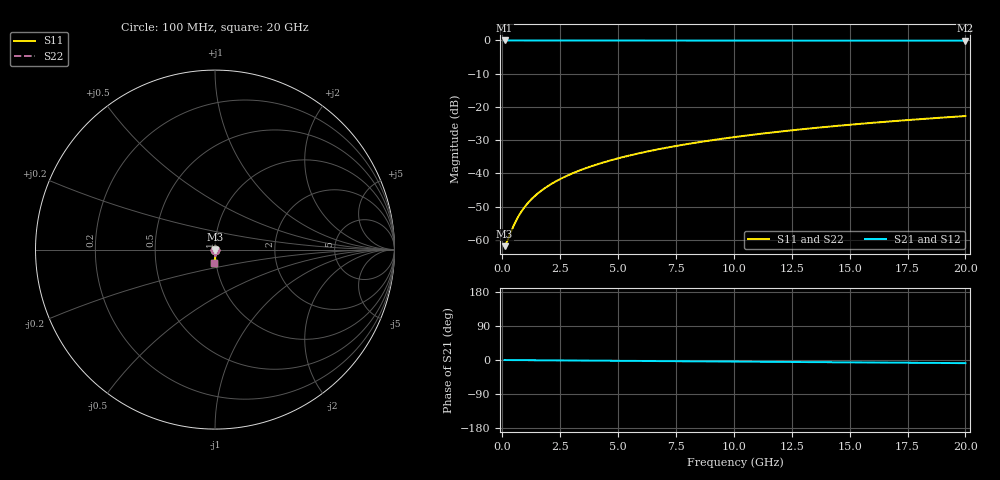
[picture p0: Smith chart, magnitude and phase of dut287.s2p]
! Touchstone file exported from HFSS 2026.1.0
!  File:  C:/ffzhzh/LocalFiles/Ansys_Project_Files/temp_train_TMRDL_287_1782985448_40604.aedt
!  Generated:  05:45:12 PM Jul  2, 2026
!  Design:  TMRDL
!  Project:  temp_train_TMRDL_287_1782985448_40604
! Variables:
!  h_bsmrdl = 2um
!  h_ox = 20um
!  h_rdl = 5um
!  h_sub = 80um
!  h_tmrdl = 3.86um
!  h_tsv = 80um
!  h_via = 3um
!  l_bsmrdl = 300um
!  l_sub = 516.87um
!  l_tmrdl = 116.87um
!  m_sub = 200um
!  pitch = 19.56um
!  r_tsv = 6um
!  s_tmrdl = 10um
!  w_bsmrdl = 18um
!  w_sub = 500um
!  w_tmrdl = 18.55um
!  x_tsv_center1 = 126.145um
!  x_tsv_center2 = 444.145um
!  x_tsv_center3 = 579.565um
!  x_tsv_center4 = 897.565um
!  x_tsv_center5 = 1032.985um
!  x_tsv_center6 = 1350.985um
# GHz S MA R 50.000000
! Terminal data exported
! Port[1] = TM_RDL1_1_T1
! Port[2] = TM_RDL1_1_T2
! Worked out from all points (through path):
!   200 points, 100 MHz to 20 GHz, reference 50 ohm
!   highest |S21| = -0.01 dB at 100 MHz (marker M1); lowest = -0.1 dB at 20 GHz (marker M2)
!   group delay of S21, straight-line fit = 1.14 ps
!   lowest |S11| = -61.9 dB at 100 MHz (marker M3), VSWR 1.00, Z = 50.1 - j0.0159 ohm
!   |S11| at or under -10 dB: start of sweep to end of sweep
!   |S22| runs from -61.9 to -22.7 dB; largest |S21 - S12| = 3.2e-15
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0.1  0.0008069 -11.4  0.9992 -0.1  0.9992 -0.1  0.0008069 -11.4
! Gamma 0 0 0 0
! Port Impedance 50 0 50 0
0.2  0.0009397 -21.7  0.9991 -0.1  0.9991 -0.1  0.0009397 -21.7
0.5  0.001669 -44.1  0.9988 -0.2  0.9988 -0.2  0.001669 -44.1
0.6  0.001968 -49.2  0.9987 -0.3  0.9987 -0.3  0.001968 -49.2
0.7  0.002279 -53.3  0.9986 -0.3  0.9986 -0.3  0.002279 -53.3
0.8  0.002597 -56.8  0.9986 -0.4  0.9986 -0.4  0.002597 -56.8
1  0.003246 -62.2  0.9985 -0.5  0.9985 -0.5  0.003246 -62.2
1.3  0.004234 -67.6  0.9983 -0.6  0.9983 -0.6  0.004234 -67.6
1.7  0.005562 -72.2  0.9982 -0.8  0.9982 -0.8  0.005562 -72.2
2.2  0.007234 -75.7  0.9981 -1.0  0.9981 -1.0  0.007234 -75.7
2.8  0.009258 -78.3  0.9979 -1.2  0.9979 -1.2  0.009258 -78.3
3.5  0.01165 -80.3  0.9977 -1.5  0.9977 -1.5  0.01165 -80.3
4.2  0.01407 -81.6  0.9974 -1.8  0.9974 -1.8  0.01407 -81.6
5  0.01688 -82.7  0.9971 -2.2  0.9971 -2.2  0.01688 -82.7
5.9  0.02008 -83.6  0.9967 -2.5  0.9967 -2.5  0.02008 -83.6
6.8  0.02333 -84.5  0.9963 -2.9  0.9963 -2.9  0.02333 -84.5
8.3  0.02883 -85.6  0.9956 -3.5  0.9956 -3.5  0.02883 -85.6
10.1  0.03552 -86.9  0.9948 -4.3  0.9948 -4.3  0.03552 -86.9
11.7  0.04153 -87.9  0.9941 -4.9  0.9941 -4.9  0.04153 -87.9
13.4  0.04795 -89.0  0.9933 -5.6  0.9933 -5.6  0.04795 -89.0
16.7  0.06046 -90.9  0.9918 -7.0  0.9918 -7.0  0.06046 -90.9
20  0.07298 -92.7  0.9902 -8.3  0.9902 -8.3  0.07298 -92.7
